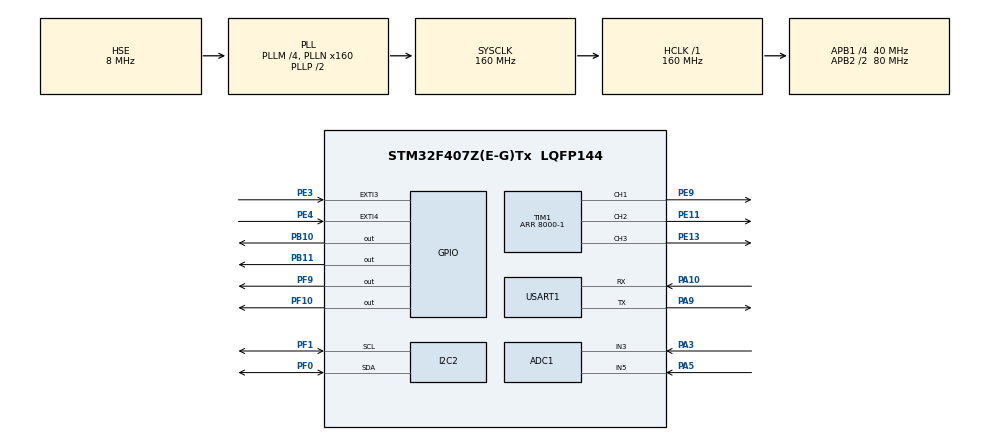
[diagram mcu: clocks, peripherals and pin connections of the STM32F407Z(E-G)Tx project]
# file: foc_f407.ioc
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ADC1.Channel-0\#ChannelRegularConversion=ADC_CHANNEL_3
ADC1.Channel-2\#ChannelInjectedConversion=ADC_CHANNEL_3
ADC1.Channel-3\#ChannelInjectedConversion=ADC_CHANNEL_5
ADC1.ClockPrescaler=ADC_CLOCK_SYNC_PCLK_DIV4
ADC1.ExternalTrigConv=ADC_SOFTWARE_START
ADC1.ExternalTrigInjecConv=ADC_EXTERNALTRIGINJECCONV_T1_CC4
ADC1.InjNumberOfConversion=2
ADC1.InjectedOffset-2\#ChannelInjectedConversion=0
ADC1.InjectedOffset-3\#ChannelInjectedConversion=0
ADC1.InjectedRank-2\#ChannelInjectedConversion=1
ADC1.InjectedRank-3\#ChannelInjectedConversion=2
ADC1.NbrOfConversion=1
ADC1.NbrOfConversionFlag=1
ADC1.Rank-0\#ChannelRegularConversion=1
ADC1.SamplingTime-0\#ChannelRegularConversion=ADC_SAMPLETIME_3CYCLES
ADC1.SamplingTime-2\#ChannelInjectedConversion=ADC_SAMPLETIME_56CYCLES
ADC1.SamplingTime-3\#ChannelInjectedConversion=ADC_SAMPLETIME_56CYCLES
ADC1.ScanConvMode=ENABLE
ADC1.master=1
Dma.Request0=USART1_TX
Dma.USART1_TX.0.Direction=DMA_MEMORY_TO_PERIPH
Dma.USART1_TX.0.FIFOMode=DMA_FIFOMODE_DISABLE
Dma.USART1_TX.0.Instance=DMA2_Stream7
Dma.USART1_TX.0.MemDataAlignment=DMA_MDATAALIGN_BYTE
Dma.USART1_TX.0.MemInc=DMA_MINC_ENABLE
Dma.USART1_TX.0.Mode=DMA_NORMAL
Dma.USART1_TX.0.PeriphDataAlignment=DMA_PDATAALIGN_BYTE
Dma.USART1_TX.0.PeriphInc=DMA_PINC_DISABLE
Dma.USART1_TX.0.Priority=DMA_PRIORITY_LOW
I2C2.I2C_Mode=I2C_Fast
Mcu.Family=STM32F4
Mcu.Name=STM32F407Z(E-G)Tx
Mcu.Package=LQFP144
NVIC.ADC_IRQn=true\:0\:0\:false\:false\:true\:true\:true\:true
NVIC.DMA2_Stream7_IRQn=true\:1\:0\:true\:false\:true\:false\:true\:true
NVIC.PriorityGroup=NVIC_PRIORITYGROUP_2
NVIC.TIM3_IRQn=true\:0\:0\:false\:false\:true\:true\:true\:true
NVIC.USART1_IRQn=true\:1\:0\:true\:false\:true\:true\:true\:true
PA0-WKUP.GPIO_Speed=GPIO_SPEED_FREQ_VERY_HIGH
PA0-WKUP.Signal=S_TIM2_CH1_ETR
PA10.Mode=Asynchronous
PA10.Signal=USART1_RX
PA13.Mode=Serial_Wire
PA13.Signal=SYS_JTMS-SWDIO
PA14.Mode=Serial_Wire
PA14.Signal=SYS_JTCK-SWCLK
PA3.Signal=ADCx_IN3
PA5.Signal=ADCx_IN5
PA9.Mode=Asynchronous
PA9.Signal=USART1_TX
PB10.GPIO_ModeDefaultOutputPP=GPIO_MODE_OUTPUT_OD
PB10.GPIO_PuPd=GPIO_PULLUP
PB10.GPIO_Speed=GPIO_SPEED_FREQ_HIGH
PB10.Signal=GPIO_Output
PB11.GPIO_ModeDefaultOutputPP=GPIO_MODE_OUTPUT_OD
PB11.GPIO_PuPd=GPIO_PULLUP
PB11.GPIO_Speed=GPIO_SPEED_FREQ_HIGH
PB11.Signal=GPIO_Output
PC14-OSC32_IN.Mode=LSE-External-Oscillator
PC14-OSC32_IN.Signal=RCC_OSC32_IN
PC15-OSC32_OUT.Mode=LSE-External-Oscillator
PC15-OSC32_OUT.Signal=RCC_OSC32_OUT
PE11.Signal=S_TIM1_CH2
PE13.Signal=S_TIM1_CH3
PE3.Signal=GPXTI3
PE4.Signal=GPXTI4
PE9.Signal=S_TIM1_CH1
PF0.Mode=I2C
PF0.Signal=I2C2_SDA
PF1.Mode=I2C
PF1.Signal=I2C2_SCL
PF10.GPIO_PuPd=GPIO_PULLUP
PF10.GPIO_Speed=GPIO_SPEED_FREQ_HIGH
PF10.PinState=GPIO_PIN_SET
PF10.Signal=GPIO_Output
PF9.GPIO_ModeDefaultOutputPP=GPIO_MODE_OUTPUT_PP
PF9.GPIO_PuPd=GPIO_PULLUP
PF9.GPIO_Speed=GPIO_SPEED_FREQ_HIGH
PF9.PinState=GPIO_PIN_SET
PF9.Signal=GPIO_Output
PH0-OSC_IN.Mode=HSE-External-Oscillator
PH0-OSC_IN.Signal=RCC_OSC_IN
PH1-OSC_OUT.Mode=HSE-External-Oscillator
PH1-OSC_OUT.Signal=RCC_OSC_OUT
ProjectManager.HeapSize=0x200
ProjectManager.StackSize=0x400
ProjectManager.TargetToolchain=MDK-ARM V5.32
RCC.48MHZClocksFreq_Value=80000000
RCC.AHBFreq_Value=160000000
RCC.APB1CLKDivider=RCC_HCLK_DIV4
RCC.APB1Freq_Value=40000000
RCC.APB1TimFreq_Value=80000000
RCC.APB2CLKDivider=RCC_HCLK_DIV2
RCC.APB2Freq_Value=80000000
RCC.APB2TimFreq_Value=160000000
RCC.CortexFreq_Value=160000000
RCC.HCLKFreq_Value=160000000
RCC.HSE_VALUE=8000000
RCC.HSI_VALUE=16000000
RCC.PLLM=4
RCC.PLLN=160
RCC.PLLSourceVirtual=RCC_PLLSOURCE_HSE
RCC.SYSCLKFreq_VALUE=160000000
RCC.SYSCLKSource=RCC_SYSCLKSOURCE_PLLCLK
RCC.VCOOutputFreq_Value=320000000
SH.ADCx_IN3.0=ADC1_IN3,IN3
SH.ADCx_IN5.0=ADC1_IN5,IN5
SH.S_TIM1_CH1.0=TIM1_CH1,PWM Generation1 CH1
SH.S_TIM1_CH2.0=TIM1_CH2,PWM Generation2 CH2
SH.S_TIM1_CH3.0=TIM1_CH3,PWM Generation3 CH3
SH.S_TIM2_CH1_ETR.0=TIM2_CH1
TIM1.Channel-PWM\ Generation1\ CH1=TIM_CHANNEL_1
TIM1.Channel-PWM\ Generation2\ CH2=TIM_CHANNEL_2
TIM1.Channel-PWM\ Generation3\ CH3=TIM_CHANNEL_3
TIM1.Channel-PWM\ Generation4\ No\ Output=TIM_CHANNEL_4
TIM1.CounterMode=TIM_COUNTERMODE_CENTERALIGNED1
TIM1.OCMode_PWM-PWM\ Generation4\ No\ Output=TIM_OCMODE_PWM2
TIM1.Period=8000-1
TIM1.Pulse-PWM\ Generation4\ No\ Output=8000-2
TIM1.TIM_MasterOutputTrigger=TIM_TRGO_OC4REF
TIM2.Prescaler=80-1
TIM3.Period=100-1
TIM3.Prescaler=80-1
USART1.VirtualMode=VM_ASYNC
VP_TIM1_VS_ClockSourceINT.Mode=Internal
VP_TIM1_VS_no_output4.Mode=PWM Generation4 No Output
VP_TIM2_VS_ClockSourceINT.Mode=Internal
VP_TIM3_VS_ClockSourceINT.Mode=Internal
board=custom

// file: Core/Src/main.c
/* USER CODE BEGIN Header */
/**
  ******************************************************************************
  * @file           : main.c
  * @brief          : Main program body
  ******************************************************************************
  * @attention
  *
  * Copyright (c) 2024 STMicroelectronics.
  * All rights reserved.
  *
  * This software is licensed under terms that can be found in the LICENSE file
  * in the root directory of this software component.
  * If no LICENSE file comes with this software, it is provided AS-IS.
  *
  ******************************************************************************
  */
/* USER CODE END Header */
#include "main.h"
#include "adc.h"
#include "dma.h"
#include "i2c.h"
#include "tim.h"
#include "usart.h"
#include "gpio.h"

/* USER CODE BEGIN Includes */
#include "Serial.h"
#include "myFOC.h"
#include "arm_math.h"
#include "motor.h"
#include "AS5600.h"
#include "IIC_1.h"
/* USER CODE END Includes */

/* USER CODE BEGIN PTD */
extern float Current_Ia;           //Ia??
extern float Current_Ib;           //Ib??
extern float current_Iq;           //Iq??
extern float current_Id;           //Id??
/* USER CODE END PTD */

void SystemClock_Config(void);

int main(void)
{

  /* MCU Configuration--------------------------------------------------------*/

  /* Reset of all peripherals, Initializes the Flash interface and the Systick. */
  HAL_Init();

  /* Configure the system clock */
  SystemClock_Config();

  /* Initialize all configured peripherals */
  MX_GPIO_Init();
  MX_DMA_Init();
  MX_ADC1_Init();
  MX_USART1_UART_Init();
  MX_TIM3_Init();
  MX_TIM1_Init();
  MX_I2C2_Init();
  MX_TIM2_Init();
  /* USER CODE BEGIN 2 */
  iic_init();
  adc_uesr_Init();
//  FOC_log("*******  FOC Init!  *******\r\n");
  PWM_Init(); // Enable the PWM output channel of Timx
  HAL_Delay(20);

  Align_Sensor(); // Calibrate the initial electrical Angle

  velocity_PID_Config();
	angle_PID_Config();
  HAL_Delay(50);

  HAL_TIM_Base_Start_IT(&htim3); // Enable TIM3 timer interrupt
//  FOC_log("******  FOC Enter Loop!  *********\r\n");
	HAL_GPIO_WritePin(GPIOF, GPIO_PIN_9, GPIO_PIN_RESET);

  /* USER CODE END 2 */

  /* Infinite loop */
  while (1)
  {

    /* USER CODE BEGIN 3 */
//		AS5600_log();
    close_Angle_LOG();
//		FOC_log("%f,%f\r\n", Current_Ia, Current_Ib);
//		FOC_log("%f,%f\r\n", current_Iq, current_Id);
  }
  /* USER CODE END 3 */
}

void SystemClock_Config(void)
{
  RCC_OscInitTypeDef RCC_OscInitStruct = {0};
  RCC_ClkInitTypeDef RCC_ClkInitStruct = {0};

  /** Configure the main internal regulator output voltage
  */
  __HAL_RCC_PWR_CLK_ENABLE();
  __HAL_PWR_VOLTAGESCALING_CONFIG(PWR_REGULATOR_VOLTAGE_SCALE1);

  /** Initializes the RCC Oscillators according to the specified parameters
  * in the RCC_OscInitTypeDef structure.
  */
  RCC_OscInitStruct.OscillatorType = RCC_OSCILLATORTYPE_HSE;
  RCC_OscInitStruct.HSEState = RCC_HSE_ON;
  RCC_OscInitStruct.PLL.PLLState = RCC_PLL_ON;
  RCC_OscInitStruct.PLL.PLLSource = RCC_PLLSOURCE_HSE;
  RCC_OscInitStruct.PLL.PLLM = 4;
  RCC_OscInitStruct.PLL.PLLN = 160;
  RCC_OscInitStruct.PLL.PLLP = RCC_PLLP_DIV2;
  RCC_OscInitStruct.PLL.PLLQ = 4;
  if (HAL_RCC_OscConfig(&RCC_OscInitStruct) != HAL_OK)
  {
    Error_Handler();
  }

  /** Initializes the CPU, AHB and APB buses clocks
  */
  RCC_ClkInitStruct.ClockType = RCC_CLOCKTYPE_HCLK|RCC_CLOCKTYPE_SYSCLK
                              |RCC_CLOCKTYPE_PCLK1|RCC_CLOCKTYPE_PCLK2;
  RCC_ClkInitStruct.SYSCLKSource = RCC_SYSCLKSOURCE_PLLCLK;
  RCC_ClkInitStruct.AHBCLKDivider = RCC_SYSCLK_DIV1;
  RCC_ClkInitStruct.APB1CLKDivider = RCC_HCLK_DIV4;
  RCC_ClkInitStruct.APB2CLKDivider = RCC_HCLK_DIV2;

  if (HAL_RCC_ClockConfig(&RCC_ClkInitStruct, FLASH_LATENCY_5) != HAL_OK)
  {
    Error_Handler();
  }
}

void Error_Handler(void)
{
  __disable_irq();
  while (1)
  {
  }
}
